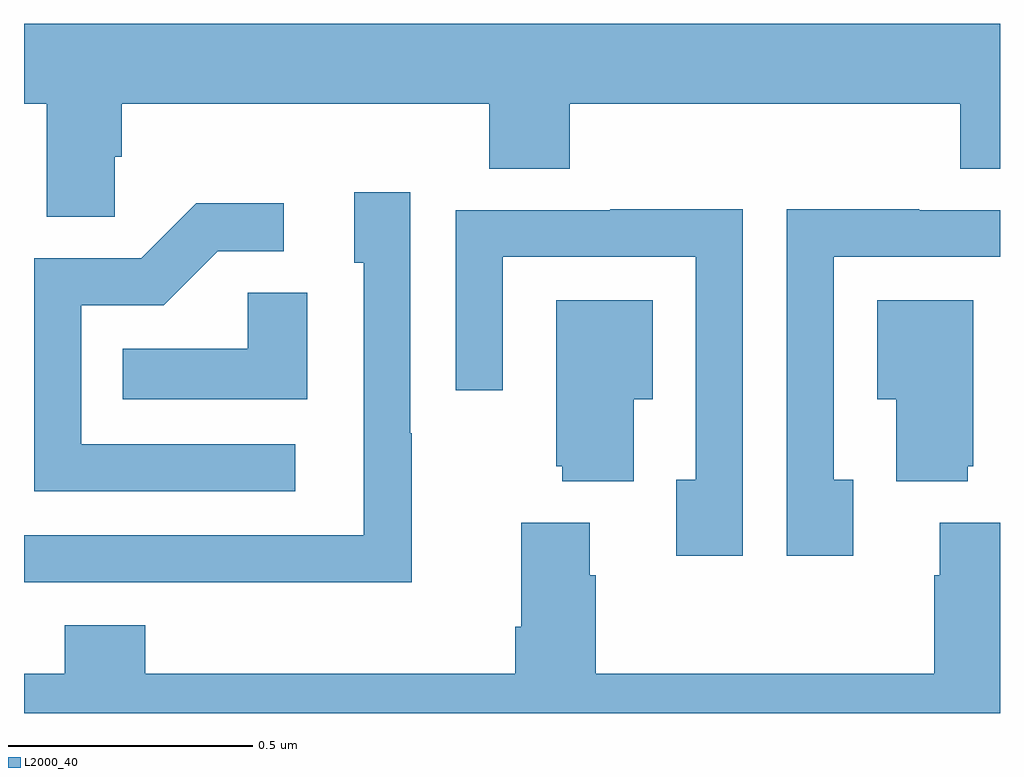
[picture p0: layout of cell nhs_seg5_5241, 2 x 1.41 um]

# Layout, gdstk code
import gdstk
lib = gdstk.Library(unit=1e-6, precision=1e-09)
def P(c, l, *ps):  # polygons
    for p in ps: c.add(gdstk.Polygon(p, *l))
L2000_40 = (2000, 40)

nhs_seg5_5241 = lib.new_cell('nhs_seg5_5241')
P(nhs_seg5_5241, L2000_40, [(180.186,901.939),(180.2,901.939),(180.2,902.048),(180.953,902.048),(180.953,901.915),(181.118,901.915),(181.118,902.048),(181.919,902.048),(181.919,901.915),(182,901.915),(182,902.212),(180,902.212),(180,902.048),(180.047,902.048),(180.047,901.816),(180.186,901.816)],
  [(180.795,901.373),(180.792,901.373),(180.792,901.867),(180.677,901.867),(180.677,901.722),(180.696,901.722),(180.696,901.164),(180,901.164),(180,901.068),(180.331,901.068),(180.331,901.067),(180.795,901.067)],
  [(180.556,901.35),(180.117,901.35),(180.117,901.635),(180.286,901.635),(180.397,901.746),(180.532,901.746),(180.532,901.844),(180.353,901.844),(180.24,901.731),(180.021,901.731),(180.021,901.254),(180.556,901.254)],
  [(181.473,901.832),(181.201,901.832),(181.201,901.83),(180.885,901.83),(180.885,901.461),(180.981,901.461),(180.981,901.734),(181.377,901.734),(181.377,901.278),(181.337,901.278),(181.337,901.122),(181.473,901.122)],
  [(181.699,901.278),(181.659,901.278),(181.659,901.734),(182,901.734),(182,901.83),(181.835,901.83),(181.835,901.832),(181.563,901.832),(181.563,901.122),(181.699,901.122)],
  [(180.58,901.661),(180.459,901.661),(180.459,901.546),(180.202,901.546),(180.202,901.442),(180.58,901.442)],
  [(181.249,901.442),(181.288,901.442),(181.288,901.645),(181.091,901.645),(181.091,901.305),(181.103,901.305),(181.103,901.274),(181.249,901.274)],
  [(181.934,901.305),(181.945,901.305),(181.945,901.645),(181.748,901.645),(181.748,901.442),(181.787,901.442),(181.787,901.274),(181.934,901.274)],
  [(182,901.189),(181.877,901.189),(181.877,901.082),(181.865,901.082),(181.865,900.88),(181.172,900.88),(181.172,901.082),(181.159,901.082),(181.159,901.189),(181.019,901.189),(181.019,900.976),(181.007,900.976),(181.007,900.88),(180.248,900.88),(180.248,900.979),(180.083,900.979),(180.083,900.88),(180,900.88),(180,900.799),(182,900.799)])

lib.write_gds('nhs_seg5_5241.gds')
